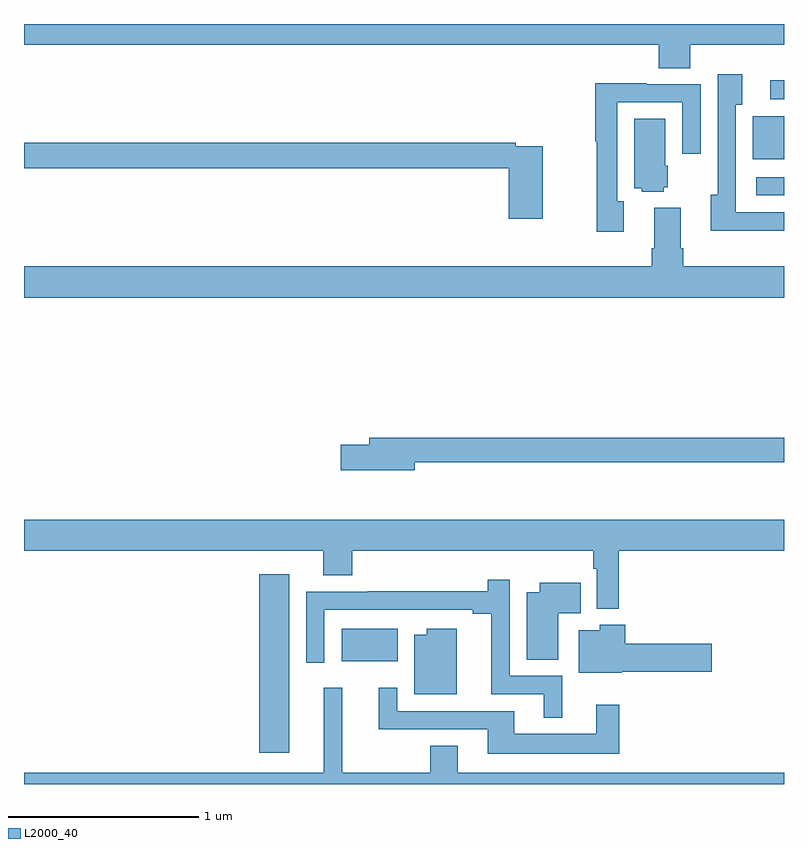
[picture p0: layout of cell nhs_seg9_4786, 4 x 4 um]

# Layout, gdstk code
import gdstk
lib = gdstk.Library(unit=1e-6, precision=1e-09)
def R(c, l, rs):  # rectangles x0, y0, x1, y1
    for r in rs: c.add(gdstk.rectangle(r[:2], r[2:], *l))
def P(c, l, *ps):  # polygons
    for p in ps: c.add(gdstk.Polygon(p, *l))
L2000_40 = (2000, 40)

nhs_seg9_4786 = lib.new_cell('nhs_seg9_4786')
R(nhs_seg9_4786, L2000_40, [(388.238,1220.664,388.396,1221.604), (388.673,1221.146,388.966,1221.316), (390.855,1223.598,391,1223.694), (390.836,1223.787,391,1224.015), (390.927,1224.105,391,1224.203)])
P(nhs_seg9_4786, L2000_40, [(390.506,1224.392),(391,1224.392),(391,1224.5),(387,1224.5),(387,1224.392),(390.341,1224.392),(390.341,1224.268),(390.506,1224.268)],
  [(391,1223.508),(390.747,1223.508),(390.747,1224.074),(390.781,1224.074),(390.781,1224.235),(390.651,1224.235),(390.651,1223.602),(390.614,1223.602),(390.614,1223.411),(391,1223.411)],
  [(390.157,1223.567),(390.123,1223.567),(390.123,1224.087),(390.465,1224.087),(390.465,1223.817),(390.561,1223.817),(390.561,1224.183),(390.277,1224.183),(390.277,1224.187),(390.007,1224.187),(390.007,1223.883),(390.015,1223.883),(390.015,1223.406),(390.157,1223.406)],
  [(390.366,1223.64),(390.388,1223.64),(390.388,1223.754),(390.376,1223.754),(390.376,1224.002),(390.212,1224.002),(390.212,1223.636),(390.252,1223.636),(390.252,1223.618),(390.366,1223.618)],
  [(389.73,1223.856),(389.588,1223.856),(389.588,1223.876),(387,1223.876),(387,1223.74),(389.552,1223.74),(389.552,1223.475),(389.73,1223.475)],
  [(391,1223.224),(390.47,1223.224),(390.47,1223.32),(390.457,1223.32),(390.457,1223.533),(390.317,1223.533),(390.317,1223.32),(390.305,1223.32),(390.305,1223.224),(387,1223.224),(387,1223.06),(391,1223.06)],
  [(389.056,1222.194),(391,1222.194),(391,1222.322),(388.817,1222.322),(388.817,1222.286),(388.668,1222.286),(388.668,1222.151),(389.056,1222.151)],
  [(390.131,1221.728),(391,1221.728),(391,1221.892),(387,1221.892),(387,1221.728),(388.574,1221.728),(388.574,1221.598),(388.727,1221.598),(388.727,1221.728),(389.995,1221.728),(389.995,1221.632),(390.015,1221.632),(390.015,1221.422),(390.131,1221.422)],
  [(389.833,1221.069),(389.556,1221.069),(389.556,1221.574),(389.44,1221.574),(389.44,1221.515),(388.81,1221.515),(388.81,1221.513),(388.485,1221.513),(388.485,1221.138),(388.581,1221.138),(388.581,1221.417),(389.363,1221.417),(389.363,1221.397),(389.459,1221.397),(389.459,1220.973),(389.735,1220.973),(389.735,1220.849),(389.833,1220.849)],
  [(389.812,1221.398),(389.93,1221.398),(389.93,1221.559),(389.714,1221.559),(389.714,1221.508),(389.645,1221.508),(389.645,1221.154),(389.812,1221.154)],
  [(390.147,1221.092),(390.619,1221.092),(390.619,1221.239),(390.164,1221.239),(390.164,1221.337),(390.03,1221.337),(390.03,1221.31),(389.921,1221.31),(389.921,1221.086),(390.147,1221.086)],
  [(389.278,1221.316),(389.12,1221.316),(389.12,1221.286),(389.054,1221.286),(389.054,1220.972),(389.278,1220.972)],
  [(391,1220.56),(389.284,1220.56),(389.284,1220.702),(389.137,1220.702),(389.137,1220.56),(388.676,1220.56),(388.676,1221.007),(388.577,1221.007),(388.577,1220.56),(387,1220.56),(387,1220.5),(391,1220.5)],
  [(390.133,1220.917),(390.011,1220.917),(390.011,1220.764),(389.581,1220.764),(389.581,1220.883),(388.965,1220.883),(388.965,1221.007),(388.868,1221.007),(388.868,1220.787),(389.441,1220.787),(389.441,1220.66),(390.133,1220.66)])

lib.write_gds('nhs_seg9_4786.gds')
